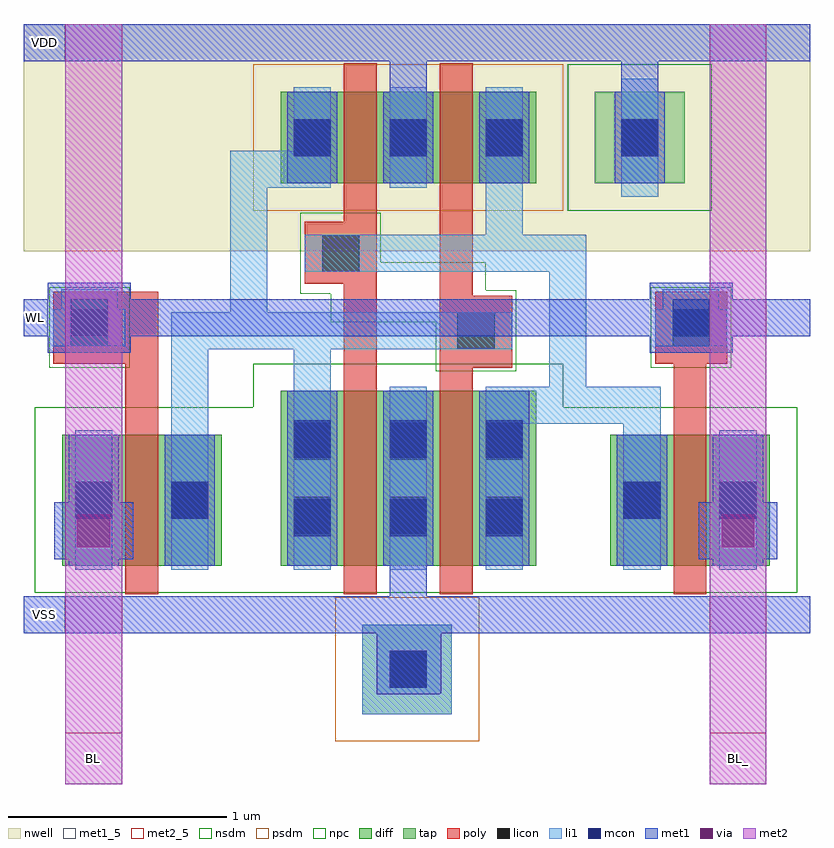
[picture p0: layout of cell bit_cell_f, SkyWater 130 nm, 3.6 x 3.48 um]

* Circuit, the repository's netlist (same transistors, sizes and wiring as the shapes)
* SPICE3 file created from bit_cell.ext - technology: sky130A

X0 a_182_n47# a_58_30# VDD VDD sky130_fd_pr__pfet_01v8 ad=0.1218 pd=1.42 as=0.1218 ps=1.42 w=0.42 l=0.15
X1 a_58_30# a_182_n47# VDD VDD sky130_fd_pr__pfet_01v8 ad=0.1218 pd=1.42 as=0.121825 ps=1.425 w=0.42 l=0.15
X2 a_182_n47# a_58_30# VSS VSS sky130_fd_pr__nfet_01v8 ad=0.232 pd=2.18 as=0.232 ps=2.18 w=0.8 l=0.15
X3 a_58_30# a_182_n47# VSS VSS sky130_fd_pr__nfet_01v8 ad=0.406 pd=3.96 as=0.232025 ps=2.185 w=0.8 l=0.15
X4 a_182_n47# WL BL VSS sky130_fd_pr__nfet_01v8 ad=0.174 pd=1.78 as=0.174 ps=1.78 w=0.6 l=0.15
X5 BL_ WL a_58_30# VSS sky130_fd_pr__nfet_01v8 ad=0.174 pd=1.78 as=0 ps=0 w=0.6 l=0.15

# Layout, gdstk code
import gdstk
lib = gdstk.Library(unit=1e-6, precision=1e-09)
def R(c, l, rs):  # rectangles x0, y0, x1, y1
    for r in rs: c.add(gdstk.rectangle(r[:2], r[2:], *l))
def A(c, l, x, y, w, h, nx, ny, dx, dy):  # array of equal rectangles
    R(c, l, [(x+i*dx, y+j*dy, x+i*dx+w, y+j*dy+h) for i in range(nx) for j in range(ny)])
nwell = (64, 20)
diff = (65, 20)
tap = (65, 44)
poly = (66, 20)
licon = (66, 44)
li1 = (67, 20)
mcon = (67, 44)
met1_5 = (68, 5)
met1 = (68, 20)
via = (68, 44)
met2_5 = (69, 5)
met2 = (69, 20)
nsdm = (93, 44)
psdm = (94, 20)
npc = (95, 20)

bit_cell_f = lib.new_cell('bit_cell_f')
R(bit_cell_f, nwell, [(0,2.44,3.6,3.48)])
R(bit_cell_f, diff, [(0.175,1,0.905,1.6), (1.175,1,2.345,1.8), (2.685,1,3.415,1.6), (1.175,2.75,2.345,3.17)])
R(bit_cell_f, tap, [(1.55,0.32,1.96,0.73), (2.615,2.75,3.025,3.17)])
R(bit_cell_f, poly, [(0.465,0.87,0.615,1.925), (1.465,0.87,1.615,2.29), (1.905,0.87,2.055,1.905), (2.975,0.87,3.125,1.925), (1.905,1.905,2.235,2.235), (0.135,1.925,0.615,2.255), (2.89,1.925,3.22,2.255), (1.905,2.235,2.055,3.3), (1.285,2.29,1.615,2.575), (1.465,2.575,1.615,3.3)])
A(bit_cell_f, licon, 1.235, 1.145, 0.17, 0.17, 3, 2, 0.44, 0.34)
A(bit_cell_f, licon, 1.235, 2.875, 0.17, 0.17, 3, 1, 0.44, 0)
R(bit_cell_f, licon, [(1.675,0.44,1.845,0.61), (0.235,1.215,0.405,1.385), (0.675,1.215,0.845,1.385), (2.745,1.215,2.915,1.385), (3.185,1.215,3.355,1.385), (1.985,1.99,2.155,2.16), (0.215,2.005,0.385,2.175), (2.97,2.005,3.14,2.175), (1.365,2.345,1.535,2.515), (2.735,2.875,2.905,3.045)])
R(bit_cell_f, li1, [(1.55,0.32,1.96,0.73), (0.235,0.98,0.405,1.62), (0.675,0.98,0.845,1.99), (1.235,0.98,1.405,1.99), (1.675,0.98,1.845,1.82), (2.115,0.98,2.285,1.65), (2.745,0.98,2.915,1.65), (3.185,0.98,3.355,1.62), (2.115,1.65,2.915,1.82), (2.405,1.82,2.575,2.345), (0.675,1.99,2.235,2.16), (0.135,2.005,0.465,2.175), (2.89,2.005,3.22,2.175), (0.945,2.16,1.115,2.73), (0.17,2.175,0.43,2.265), (2.925,2.175,3.185,2.265), (1.285,2.345,2.575,2.515), (2.115,2.515,2.285,3.19), (2.735,2.69,2.905,3.23), (0.945,2.73,1.405,2.9), (1.675,2.73,1.845,3.19), (1.235,2.9,1.405,3.19)])
A(bit_cell_f, mcon, 1.235, 1.135, 0.17, 0.17, 3, 2, 0.44, 0.36)
A(bit_cell_f, mcon, 1.235, 2.875, 0.17, 0.17, 3, 1, 0.44, 0)
R(bit_cell_f, mcon, [(1.675,0.44,1.845,0.61), (0.235,1.215,0.405,1.385), (0.675,1.215,0.845,1.385), (2.745,1.215,2.915,1.385), (3.185,1.215,3.355,1.385), (0.215,2.05,0.385,2.22), (2.97,2.05,3.14,2.22), (2.735,2.875,2.905,3.045)])
R(bit_cell_f, met1_5, [(0,0.69,0.19,0.86), (0,2.05,0.11,2.22), (0,3.31,0.19,3.48)])
A(bit_cell_f, met1, 1.205, 1, 0.23, 0.8, 3, 1, 0.44, 0)
A(bit_cell_f, met1, 1.205, 2.75, 0.23, 0.42, 3, 1, 0.44, 0)
R(bit_cell_f, met1, [(1.615,0.41,1.905,0.415), (1.615,0.415,1.91,0.69), (0,0.69,3.6,0.86), (1.675,0.86,1.845,1), (0.205,1,0.435,1.03), (0.645,1,0.875,1.6), (2.715,1,2.945,1.6), (3.155,1,3.385,1.03), (0.14,1.03,0.5,1.29), (3.09,1.03,3.45,1.29), (0.205,1.29,0.435,1.6), (3.155,1.29,3.385,1.6), (0.11,1.975,0.49,2.05), (2.865,1.975,3.245,2.05), (0,2.05,3.6,2.22), (0.11,2.22,0.49,2.295), (2.865,2.22,3.245,2.295), (2.705,2.75,2.935,3.17), (1.675,3.17,1.845,3.31), (2.735,3.17,2.905,3.31), (0,3.31,3.6,3.48)])
R(bit_cell_f, via, [(0.245,1.085,0.395,1.235), (3.195,1.085,3.345,1.235)])
R(bit_cell_f, met2_5, [(0.19,0,0.45,0.235), (3.14,0,3.4,0.235)])
R(bit_cell_f, met2, [(0.19,0,0.45,3.48), (3.14,0,3.4,3.48)])
R(bit_cell_f, nsdm, [(0.05,0.875,3.54,1.725), (1.05,1.725,2.47,1.925), (2.49,2.625,3.15,3.295)])
R(bit_cell_f, psdm, [(1.425,0.195,2.085,0.855), (1.05,2.625,2.47,3.295)])
R(bit_cell_f, npc, [(1.885,1.89,2.255,2.115), (0.115,1.905,0.485,2.275), (2.87,1.905,3.24,2.275), (1.405,2.115,2.255,2.245), (1.265,2.245,2.255,2.26), (1.265,2.26,2.115,2.39), (1.265,2.39,1.635,2.615)])
bit_cell_f.add(gdstk.Label('BL_', (3.27,0.117), layer=69, texttype=5))
bit_cell_f.add(gdstk.Label('VSS', (0.095,0.775), layer=68, texttype=5))
bit_cell_f.add(gdstk.Label('WL', (0.055,2.135), layer=68, texttype=5))
bit_cell_f.add(gdstk.Label('VDD', (0.095,3.395), layer=68, texttype=5))
bit_cell_f.add(gdstk.Label('BL', (0.32,0.117), layer=69, texttype=5))

lib.write_gds('bit_cell_f.gds')
